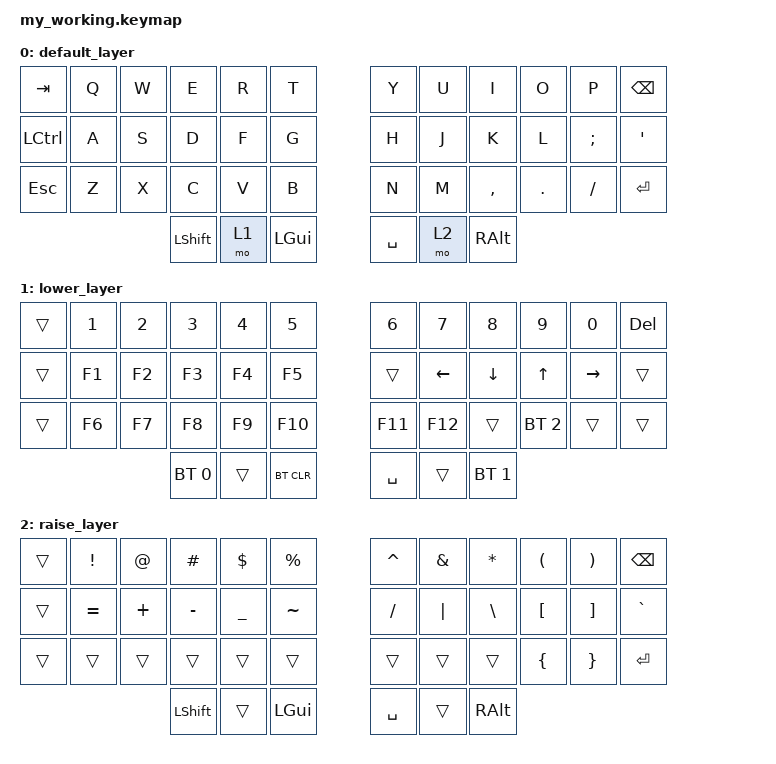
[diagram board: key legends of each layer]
/*
 * Copyright (c) 2020 The ZMK Contributors
 *
 * SPDX-License-Identifier: MIT
 */

#include <behaviors.dtsi>
#include <dt-bindings/zmk/keys.h>
#include <dt-bindings/zmk/bt.h>

/ {
        #include "nav_layers.dtsi"
        keymap {
                compatible = "zmk,keymap";

                default_layer {
// -----------------------------------------------------------------------------------------
// |  TAB |  Q  |  W  |  E  |  R  |  T  |   |  Y  |  U   |  I  |  O  |  P  | BKSP |
// | CTRL |  A  |  S  |  D  |  F  |  G  |   |  H  |  J   |  K  |  L  |  ;  |  '   |
// | ESC  |  Z  |  X  |  C  |  V  |  B  |   |  N  |  M   |  ,  |  .  |  /  | RET  |
//                    | SHFT| LWR | GUI |   | SPC | RSE  | ALT |

                        bindings = <
   &kp TAB   &kp Q &kp W &kp E &kp R &kp T      &kp Y &kp U  &kp I     &kp O   &kp P    &kp BSPC
   &kp LCTRL &kp A &kp S &kp D &kp F &kp G      &kp H &kp J  &kp K     &kp L   &kp SEMI &kp SQT
   &kp ESC   &kp Z &kp X &kp C &kp V &kp B      &kp N &kp M  &kp COMMA &kp DOT &kp FSLH &kp RET
                &kp LSHIFT  &mo 1 &kp LGUI      &kp SPACE &mo 2 &kp RALT
                        >;
                };
                lower_layer {
// -----------------------------------------------------------------------------------------
// |  TAB |  1  |  2  |  3  |  4  |  5  |   |  6  |  7  |  8  |  9  |  0  | DEL  |
// | CTRL |  F1 |  F2 |  F3 | F4  |  F5 |   |     | LFT | DWN |  UP | RGT |      |
// |  ESC |  F6 |  F7 |  F8 | F9  | F10 |   | F11 | F12 |     | BT2 |     | RET  |
//                    | BT0 |     | BTCL|   | SPC |     | BT1 |


                        bindings = <
   &trans  &kp N1 &kp N2 &kp N3 &kp N4 &kp N5      &kp N6  &kp N7   &kp N8   &kp N9       &kp N0    &kp DEL
   &trans  &kp F1 &kp F2 &kp F3 &kp F4 &kp F5      &trans  &kp LEFT &kp DOWN &kp UP       &kp RIGHT &trans
   &trans  &kp F6 &kp F7 &kp F8 &kp F9 &kp F10     &kp F11 &kp F12  &trans   &bt BT_SEL 2 &trans    &trans
            &bt BT_SEL 0   &trans   &bt BT_CLR     &kp SPACE   &trans   &bt BT_SEL 1
                        >;
                };

                raise_layer {
// -----------------------------------------------------------------------------------------
// |  TAB |  !  |  @  |  #  |  $  |  %  |   |  ^  |  &  |  *  |  (  |  )  | BKSP |
// | CTRL |  =  |  +  |  -  |  _  |  ~  |   |  /  |  |  |  \  |  [  |  ]  |  `   |
// | ESC  |     |     |     |     |     |   |     |     |     |  {  |  }  |  RET |
//                    | SHFT|     | GUI |   | SPC |     | ALT |

                        bindings = <
   &trans &kp EXCL  &kp AT   &kp HASH  &kp DLLR  &kp PRCNT      &kp CARET &kp AMPS &kp ASTERISK &kp LPAR &kp RPAR &kp BSPC
   &trans &kp EQUAL &kp PLUS &kp MINUS &kp UNDER &kp TILDE      &kp FSLH  &kp PIPE &kp BSLH        &kp LBKT &kp RBKT &kp GRAVE
   &trans &trans    &trans   &trans    &trans    &trans         &trans    &trans   &trans          &kp LBRC &kp RBRC &kp RET
                              &kp LSHIFT &trans   &kp LGUI      &kp SPACE &trans   &kp RALT
                        >;
                };
        };
};
